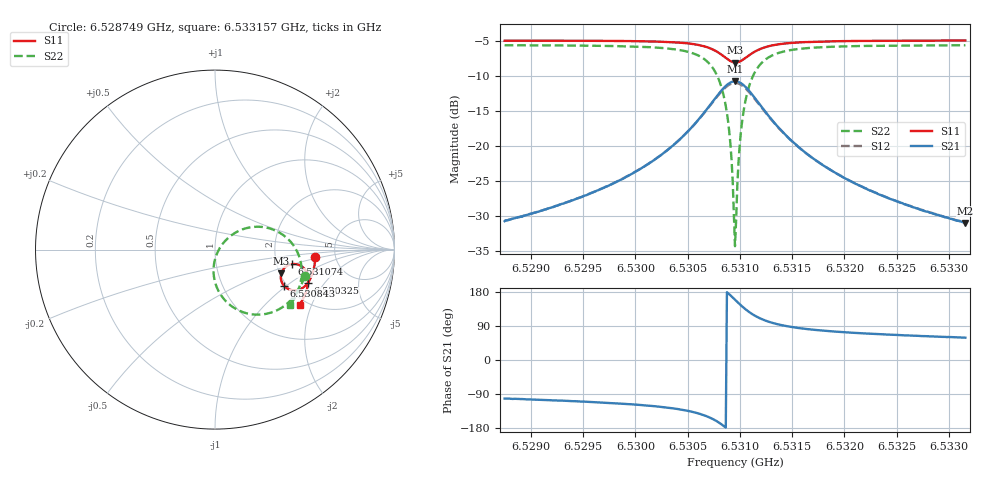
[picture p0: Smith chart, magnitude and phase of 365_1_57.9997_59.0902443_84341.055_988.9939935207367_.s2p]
#  HZ  S  RI  R  50.00
! Rohde & Schwarz Vector Network Analyzer
! Rohde-Schwarz,ZNB20-2Port,1311601062101988,3.16
! Created: UTC 3/21/2024, 1:06:40 AM
! freq[Hz]  re:S11  im:S11  re:S21  im:S21  re:S12  im:S12  re:S22  im:S22
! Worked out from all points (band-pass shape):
!   401 points, 6.528749 GHz to 6.533157 GHz, reference 50 ohm
!   highest |S21| = -10.80 dB at 6.530953 GHz (marker M1); lowest = -30.9 dB at 6.533157 GHz (marker M2)
!   |S21| within 3 dB of the highest: 6.530733 GHz to 6.531175 GHz (441.4 kHz wide, 0.00676 % of centre)
!   lowest |S11| = -8.1 dB at 6.530953 GHz (marker M3), VSWR 2.29, Z = 102 - j32 ohm
!   |S11| at or under -10 dB: nowhere
!   |S22| runs from -34.3 to -5.7 dB; largest |S21 - S12| = 0.011
!   S11 on the Smith chart (normalised r, x): 6.528749 GHz: 3.50, -0.45; 6.530325 GHz: 2.60, -1.39; 6.530843 GHz: 1.94, -0.97; 6.531074 GHz: 2.42, -0.48; 6.533157 GHz: 1.82, -1.65
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6.5287488e9  0.5596 -0.0438  -0.00589 -0.0286  -0.00647 -0.0286  0.4997 -0.1471
6.5294873e9  0.5506 -0.1044  -0.0145 -0.0409  -0.0155 -0.0407  0.4711 -0.2142
6.5302257e9  0.524 -0.1756  -0.046 -0.0704  -0.0478 -0.0693  0.3948 -0.307
6.5303249e9  0.5161 -0.1871  -0.0567 -0.0773  -0.0589 -0.0758  0.3719 -0.3232
6.5305232e9  0.4911 -0.2116  -0.0939 -0.0925  -0.0966 -0.0894  0.2977 -0.3551
6.5306775e9  0.4534 -0.2268  -0.1527 -0.0956  -0.1548 -0.0896  0.1894 -0.3578
6.5307767e9  0.4147 -0.2225  -0.2129 -0.0725  -0.2126 -0.064  0.0864 -0.3108
6.5308429e9  0.3857 -0.2027  -0.2559 -0.0286  -0.252 -0.0194  0.0191 -0.23
6.5308759e9  0.3741 -0.1856  -0.2718 0.00524  -0.2656 0.0136  -0.00224 -0.1712
6.530898e9  0.3689 -0.1718  -0.2777 0.0316  -0.2702 0.039  -0.00801 -0.1265
6.530942e9  0.3676 -0.1408  -0.2742 0.0885  -0.2648 0.0929  0.00685 -0.033
6.5309531e9  0.3693 -0.133  -0.2697 0.1026  -0.2601 0.1063  0.0162 -0.0106
6.5309641e9  0.3719 -0.1256  -0.2639 0.1162  -0.2542 0.1189  0.028 0.0109
6.5309751e9  0.3754 -0.1183  -0.2568 0.1291  -0.2471 0.131  0.0417 0.0309
6.5309971e9  0.3843 -0.1053  -0.2392 0.1522  -0.23 0.1524  0.0743 0.0659
6.5310192e9  0.3954 -0.095  -0.2183 0.1705  -0.21 0.1695  0.1115 0.0931
6.5310743e9  0.4269 -0.081  -0.1612 0.1959  -0.1555 0.1932  0.2103 0.1261
6.5311514e9  0.4655 -0.0844  -0.0931 0.1943  -0.0902 0.1916  0.325 0.111
6.5312617e9  0.4983 -0.1069  -0.0358 0.1644  -0.0342 0.163  0.4184 0.0468
6.5316915e9  0.5197 -0.1829  0.0139 0.0812  0.0149 0.0811  0.4832 -0.1299
6.5324299e9  0.4996 -0.2555  0.0166 0.0389  0.0172 0.0388  0.4555 -0.2453
6.5331573e9  0.4714 -0.3087  0.0147 0.0243  0.0151 0.0242  0.42 -0.3074
